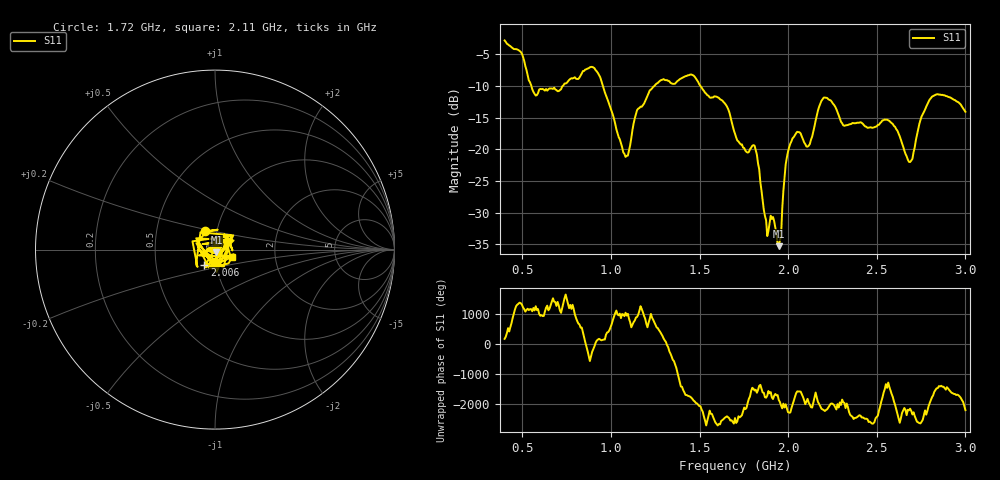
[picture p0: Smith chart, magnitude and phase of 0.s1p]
!Created with skrf (http://scikit-rf.org).
# Hz S RI R 50.0
!freq ReS11 ImS11
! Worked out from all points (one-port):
!   401 points, 400 MHz to 3 GHz, reference 50 ohm
!   lowest |S11| = -35.3 dB at 1.947 GHz (marker M1), VSWR 1.04, Z = 50.8 - j1.55 ohm
!   |S11| at or under -10 dB: 550.8 MHz to 728.8 MHz (178 MHz wide, 27.8 % of centre); 953.9 MHz to 1.246 GHz (292.1 MHz wide, 26.6 % of centre); 1.504 GHz to end of sweep
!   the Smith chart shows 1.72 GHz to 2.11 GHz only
!   S11 on the Smith chart (normalised r, x): 1.72 GHz: 0.88, +0.18; 2.006 GHz: 0.88, -0.15; 2.11 GHz: 1.21, -0.10
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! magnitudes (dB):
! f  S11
! 400 MHz  -2.8
! 491 MHz  -4.6
! 569 MHz  -11.3
! 725 MHz  -10.1
! 907 MHz  -7.2
! 1.05 GHz  -18.4
! 1.089 GHz  -21.0
! 1.147 GHz  -13.8
! 1.226 GHz  -10.6
! 1.375 GHz  -9.2
! 1.46 GHz  -8.3
! 1.622 GHz  -12.2
! 1.7 GHz  -17.5
! 1.72 GHz  -18.8
! 1.81 GHz  -19.4
! 1.875 GHz  -31.2
! 1.915 GHz  -30.7
! 1.947 GHz  -35.3
! 1.986 GHz  -22.4
! 2.006 GHz  -19.7
! 2.025 GHz  -18.3
! 2.11 GHz  -19.6
! 2.207 GHz  -11.8
! 2.35 GHz  -16.0
! 2.571 GHz  -15.5
! 2.675 GHz  -21.6
! 2.812 GHz  -11.7
! 3 GHz  -14.1
